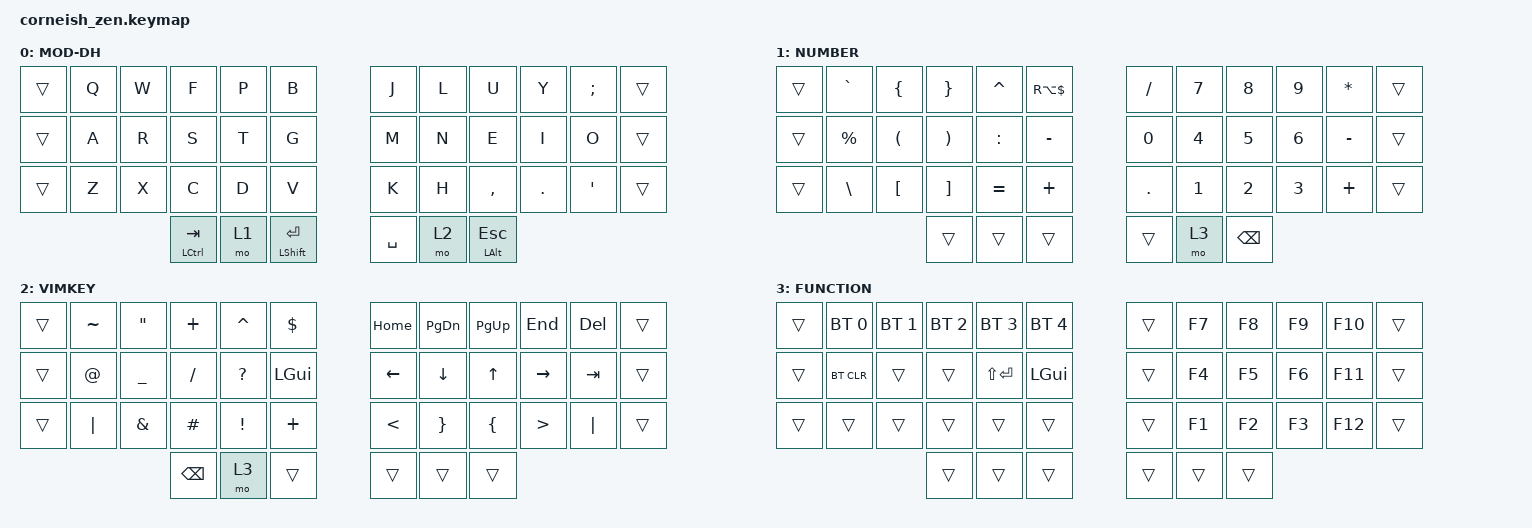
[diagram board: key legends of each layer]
#include <behaviors.dtsi>
#include <dt-bindings/zmk/keys.h>
#include <dt-bindings/zmk/bt.h>

/ {
  chosen {
    zmk,matrix_transform = &default_transform;
    //zmk,matrix_transform = &five_column_transform;
  };
};

/ {
        keymap {
                compatible = "zmk,keymap";

                default_layer {
                        label = "MOD-DH";
// ------------------------------------------------------------------
// |  Q  |  W  |  F  |  P  |  B  |///|  J  |  L   |  U  |  Y  |  ;  |
// |  A  |  R  |  S  |  T  |  G  |///|  M  |  N   |  E  |  I  |  O  |
// |  Z  |  X  |  C  |  D  |  V  |///|  K  |  H   |  ,  |  .  |  '  |
//             | CTL | LWR | RET |///| SPC | RSE  | ALT |
                 bindings = <
   &trans &kp Q &kp W &kp F &kp P &kp B     &kp J &kp L  &kp U     &kp Y   &kp SEMI &trans
   &trans &kp A &kp R &kp S &kp T &kp G     &kp M &kp N  &kp E     &kp I   &kp O    &trans
   &trans &kp Z &kp X &kp C &kp D &kp V     &kp K &kp H  &kp COMMA &kp DOT &kp SQT  &trans
        &mt LCTRL TAB &mo 1 &mt LSHFT RET   &kp SPACE &mo 2 &mt LALT ESC
                        >;
                };

                lower_layer {
                        label = "NUMBER";
// -----------------------------------------------------------------
// |  `  |  {  |  }  |  ^  |  £  |///|  /  |  7  |  8  |  9  |  *  |
// |  %  |  (  |  )  |  :  |  -  |///|  0  |  4  |  5  |  6  |  -  |
// |  \  |  [  |  ]  |  =  |  +  |///|  .  |  1  |  2  |  3  |  +  |
//             |     |     |     |///|     | L3  |BKSP |
                 bindings = <
   &trans &kp GRAVE &kp LBRC  &kp RBRC  &kp CARET &kp RA(DLLR)   &kp FSLH &kp N7  &kp N8 &kp N9  &kp ASTRK &trans
   &trans &kp PRCNT &kp LPAR  &kp RPAR  &kp COLON &kp MINUS      &kp N0   &kp N4  &kp N5 &kp N6  &kp MINUS &trans
   &trans &kp BSLH  &kp LBKT  &kp RBKT  &kp EQUAL &kp PLUS       &kp DOT  &kp N1  &kp N2 &kp N3  &kp PLUS  &trans
                       &trans    &trans    &trans         &trans   &mo 3   &kp BSPC
                        >;
                };

                raise_layer {
                        label = "VIMKEY";
// -----------------------------------------------------------------
// |  ~  |  "  |  +  |  ^  |  $  |///|HOME |PGDN |PGUP | END | DEL |
// |  @  |  _  |  /  |  ?  | WIN |///|LEFT |DOWN | UP  |RIGHT| TAB |
// |  |  |  &  |  #  |  !  |  +  |///|  <  |  }  |  {  |  >  |INSRT|
//             |BSPC | L3  |     |///|     |     |     |
                 bindings = <
   &trans &kp TILDE &kp DQT   &kp PLUS &kp CARET &kp DLLR   &kp HOME  &kp PG_DN &kp PG_UP &kp END   &kp DEL  &trans
   &trans &kp AT    &kp UNDER &kp FSLH &kp QMARK &kp LGUI   &kp LEFT  &kp DOWN  &kp UP    &kp RIGHT &kp TAB  &trans
   &trans &kp PIPE  &kp AMPS  &kp HASH &kp EXCL  &kp PLUS   &kp LT    &kp RBRC  &kp LBRC  &kp GT    &kp PIPE &trans
                    	      &kp BSPC &mo 3     &trans     &trans    &trans    &trans
                        >;
                };

                dbl_layer {
                        label = "FUNCTION";
// -----------------------------------------------------------------
// | BT1 | BT2 | BT3 | BT4 | BT5 |///|     |  F7 |  F8 | F9  | F10 |
// |BTCLR|     |     |SHRET| WIN |///|     |  F4 |  F5 | F6  | F11 |
// |     |     |     |     |     |///|     |  F1 |  F2 | F3  | F12 |
//             |     |     |     |///|     |     |     |
                        bindings = <
   &trans &bt BT_SEL 0 &bt BT_SEL 1 &bt BT_SEL 2 &bt BT_SEL 3 &bt BT_SEL 4   &trans  &kp F7  &kp F8  &kp F9 &kp F10 &trans
   &trans &bt BT_CLR   &trans       &trans       &kp LS(RET)  &kp LGUI       &trans  &kp F4  &kp F5  &kp F6 &kp F11 &trans
   &trans &trans       &trans       &trans       &trans       &trans         &trans  &kp F1  &kp F2  &kp F3 &kp F12 &trans
                    	            &trans       &trans       &trans         &trans  &trans  &trans
                        >;
                };
        };
};
